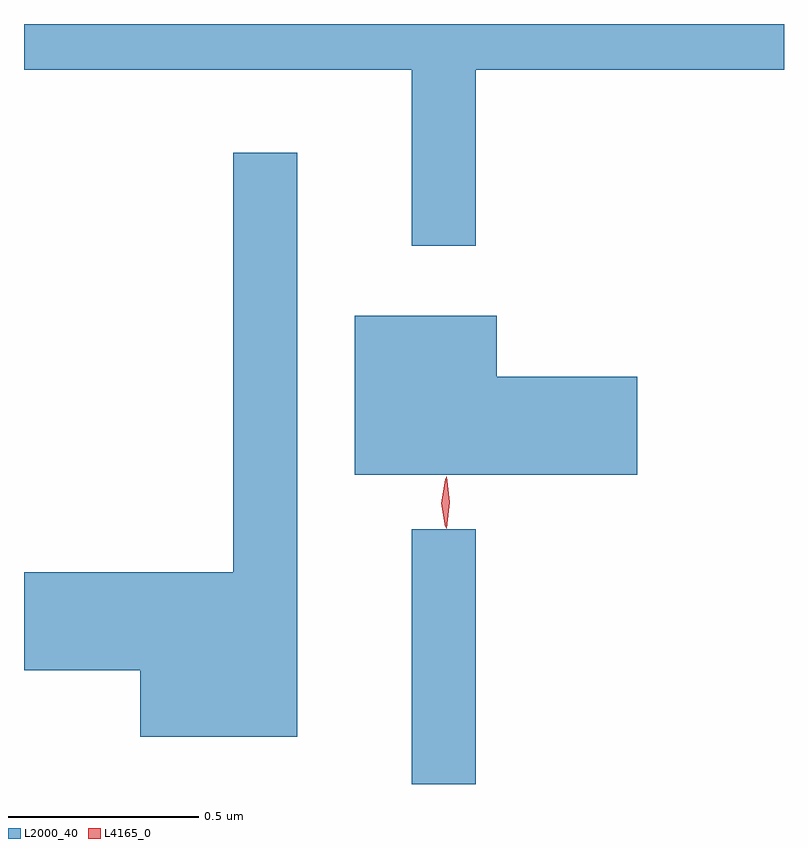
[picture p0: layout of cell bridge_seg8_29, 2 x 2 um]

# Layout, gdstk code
import gdstk
lib = gdstk.Library(unit=1e-6, precision=1e-09)
def R(c, l, rs):  # rectangles x0, y0, x1, y1
    for r in rs: c.add(gdstk.rectangle(r[:2], r[2:], *l))
def P(c, l, *ps):  # polygons
    for p in ps: c.add(gdstk.Polygon(p, *l))
L2000_40 = (2000, 40)
L4165_0 = (4165, 0)

bridge_seg8_29 = lib.new_cell('bridge_seg8_29')
R(bridge_seg8_29, L2000_40, [(1745.961,1927.777,1746.129,1928.448)])
P(bridge_seg8_29, L2000_40, [(1746.129,1929.656),(1746.94,1929.656),(1746.94,1929.777),(1744.94,1929.777),(1744.94,1929.656),(1745.961,1929.656),(1745.961,1929.193),(1746.129,1929.193)],
  [(1745.659,1929.438),(1745.491,1929.438),(1745.491,1928.334),(1744.94,1928.334),(1744.94,1928.076),(1745.246,1928.076),(1745.246,1927.901),(1745.659,1927.901)],
  [(1746.554,1928.849),(1746.184,1928.849),(1746.184,1929.009),(1745.811,1929.009),(1745.811,1928.591),(1746.554,1928.591)])
P(bridge_seg8_29, L4165_0, [(1746.051,1928.45),(1746.051,1928.45),(1746.041,1928.518),(1746.051,1928.586),(1746.051,1928.586),(1746.052,1928.586),(1746.061,1928.518),(1746.052,1928.45)],
  [(1746.048,1928.453),(1746.048,1928.453),(1746.038,1928.516),(1746.048,1928.579),(1746.048,1928.58),(1746.049,1928.579),(1746.058,1928.516),(1746.049,1928.453)])

lib.write_gds('bridge_seg8_29.gds')
